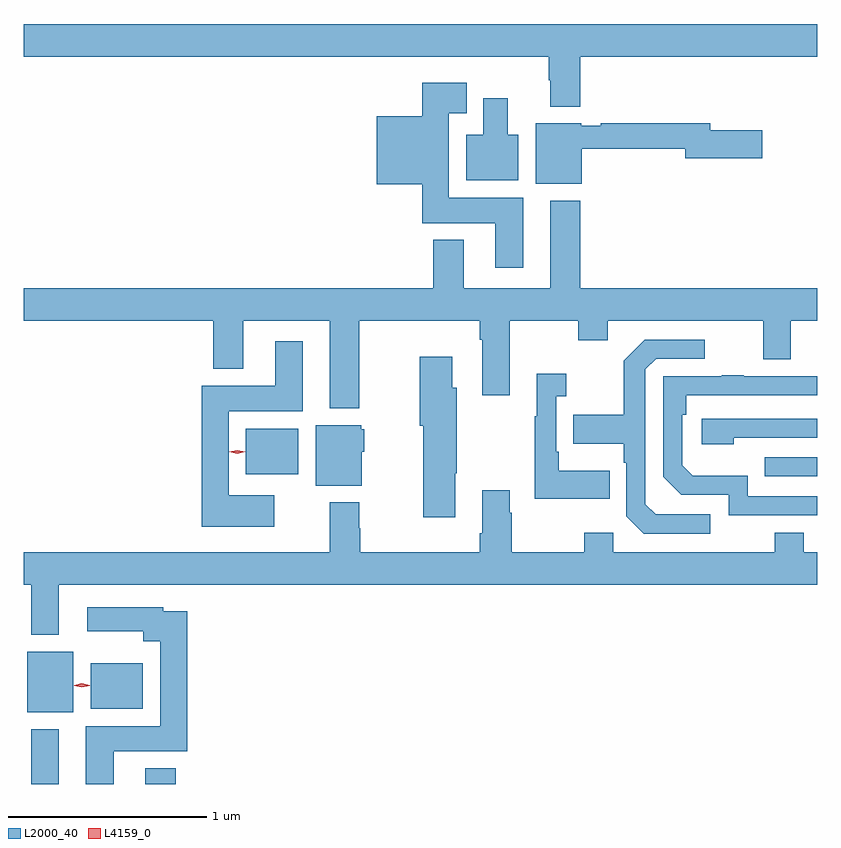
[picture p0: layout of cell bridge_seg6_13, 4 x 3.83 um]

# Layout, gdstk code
import gdstk
lib = gdstk.Library(unit=1e-6, precision=1e-09)
def R(c, l, rs):  # rectangles x0, y0, x1, y1
    for r in rs: c.add(gdstk.rectangle(r[:2], r[2:], *l))
def P(c, l, *ps):  # polygons
    for p in ps: c.add(gdstk.Polygon(p, *l))
L2000_40 = (2000, 40)
L4159_0 = (4159, 0)

bridge_seg6_13 = lib.new_cell('bridge_seg6_13')
R(bridge_seg6_13, L2000_40, [(911.963,983.628,912.103,983.905), (912.539,983.628,912.692,983.707), (911.942,983.99,912.175,984.295), (912.263,984.008,912.526,984.238), (915.661,985.179,915.926,985.275), (913.046,985.19,913.309,985.42)])
P(bridge_seg6_13, L2000_40, [(914.732,987.296),(915.926,987.296),(915.926,987.46),(911.926,987.46),(911.926,987.296),(914.572,987.296),(914.572,987.176),(914.579,987.176),(914.579,987.044),(914.732,987.044)],
  [(914.443,986.584),(914.068,986.584),(914.068,987.011),(914.158,987.011),(914.158,987.163),(913.934,987.163),(913.934,986.995),(913.706,986.995),(913.706,986.651),(913.934,986.651),(913.934,986.456),(914.303,986.456),(914.303,986.232),(914.443,986.232)],
  [(914.419,986.902),(914.365,986.902),(914.365,987.085),(914.243,987.085),(914.243,986.902),(914.156,986.902),(914.156,986.672),(914.419,986.672)],
  [(914.74,986.83),(915.26,986.83),(915.26,986.783),(915.649,986.783),(915.649,986.925),(915.388,986.925),(915.388,986.959),(914.836,986.959),(914.836,986.946),(914.736,986.946),(914.736,986.959),(914.507,986.959),(914.507,986.654),(914.74,986.654)],
  [(913.617,985.964),(914.225,985.964),(914.225,985.868),(914.237,985.868),(914.237,985.587),(914.377,985.587),(914.377,985.964),(914.722,985.964),(914.722,985.865),(914.869,985.865),(914.869,985.964),(915.653,985.964),(915.653,985.77),(915.793,985.77),(915.793,985.964),(915.926,985.964),(915.926,986.128),(914.732,986.128),(914.732,986.569),(914.579,986.569),(914.579,986.128),(914.143,986.128),(914.143,986.371),(913.991,986.371),(913.991,986.128),(911.926,986.128),(911.926,985.964),(912.881,985.964),(912.881,985.721),(913.033,985.721),(913.033,985.964),(913.469,985.964),(913.469,985.523),(913.617,985.523)],
  [(915.388,984.987),(915.111,984.987),(915.06,985.038),(915.06,985.719),(915.114,985.773),(915.358,985.773),(915.358,985.869),(915.057,985.869),(914.952,985.763),(914.952,985.491),(914.695,985.491),(914.695,985.343),(914.952,985.343),(914.952,985.247),(914.964,985.247),(914.964,984.978),(915.051,984.891),(915.388,984.891)],
  [(913.189,985.084),(912.958,985.084),(912.958,985.508),(913.333,985.508),(913.333,985.861),(913.193,985.861),(913.193,985.636),(912.824,985.636),(912.824,984.926),(913.189,984.926)],
  [(914.101,985.195),(914.109,985.195),(914.109,985.626),(914.086,985.626),(914.086,985.783),(913.921,985.783),(913.921,985.434),(913.939,985.434),(913.939,984.972),(914.101,984.972)],
  [(914.879,985.207),(914.623,985.207),(914.623,985.303),(914.61,985.303),(914.61,985.583),(914.662,985.583),(914.662,985.696),(914.513,985.696),(914.513,985.483),(914.502,985.483),(914.502,985.067),(914.879,985.067)],
  [(915.926,985.08),(915.576,985.08),(915.576,985.183),(915.299,985.183),(915.246,985.236),(915.246,985.49),(915.266,985.49),(915.266,985.587),(915.926,985.587),(915.926,985.683),(915.557,985.683),(915.557,985.688),(915.445,985.688),(915.445,985.683),(915.15,985.683),(915.15,985.176),(915.24,985.086),(915.48,985.086),(915.48,984.984),(915.926,984.984)],
  [(915.506,985.374),(915.926,985.374),(915.926,985.47),(915.345,985.47),(915.345,985.34),(915.506,985.34)],
  [(913.63,985.302),(913.642,985.302),(913.642,985.416),(913.626,985.416),(913.626,985.438),(913.397,985.438),(913.397,985.133),(913.63,985.133)],
  [(915.926,984.796),(915.859,984.796),(915.859,984.895),(915.712,984.895),(915.712,984.796),(914.898,984.796),(914.898,984.895),(914.752,984.895),(914.752,984.796),(914.385,984.796),(914.385,984.995),(914.377,984.995),(914.377,985.108),(914.237,985.108),(914.237,984.892),(914.225,984.892),(914.225,984.796),(913.622,984.796),(913.622,984.917),(913.617,984.917),(913.617,985.048),(913.469,985.048),(913.469,984.796),(911.926,984.796),(911.926,984.632),(911.963,984.632),(911.963,984.38),(912.103,984.38),(912.103,984.632),(915.926,984.632)],
  [(912.379,983.792),(912.749,983.792),(912.749,984.499),(912.63,984.499),(912.63,984.52),(912.246,984.52),(912.246,984.398),(912.527,984.398),(912.527,984.347),(912.614,984.347),(912.614,983.92),(912.239,983.92),(912.239,983.628),(912.379,983.628)])
P(bridge_seg6_13, L4159_0, [(913.002,985.292),(912.961,985.302),(912.961,985.302),(912.961,985.302),(913.002,985.312),(913.042,985.302),(913.042,985.302),(913.042,985.302)],
  [(912.219,984.115),(912.181,984.124),(912.181,984.125),(912.181,984.125),(912.219,984.135),(912.258,984.125),(912.258,984.125),(912.258,984.124)])

lib.write_gds('bridge_seg6_13.gds')
